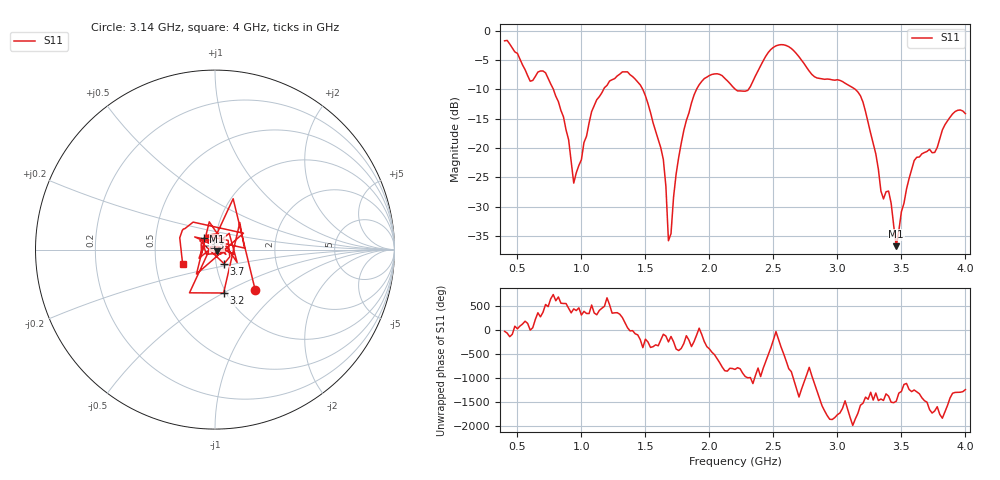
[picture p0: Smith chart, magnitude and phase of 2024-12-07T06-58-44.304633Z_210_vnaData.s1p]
!Created with skrf (http://scikit-rf.org).
# Hz S RI R 50.0
!freq ReS11 ImS11
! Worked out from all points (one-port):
!   181 points, 400 MHz to 4 GHz, reference 50 ohm
!   lowest |S11| = -36.8 dB at 3.46 GHz (marker M1), VSWR 1.03, Z = 51.2 - j0.895 ohm
!   |S11| at or under -10 dB: 781.4 MHz to 1.173 GHz (391.6 MHz wide, 40.1 % of centre); 1.48 GHz to 1.899 GHz (418.8 MHz wide, 24.8 % of centre); 3.141 GHz to end of sweep (the widest 3 of 4)
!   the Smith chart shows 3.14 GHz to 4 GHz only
!   S11 on the Smith chart (normalised r, x): 3.14 GHz: 1.38, -0.69; 3.2 GHz: 0.97, -0.50; 3.3 GHz: 0.88, +0.11; 3.7 GHz: 1.09, -0.17; 4 GHz: 0.69, -0.11
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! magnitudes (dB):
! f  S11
! 400 MHz  -1.7
! 600 MHz  -8.6
! 720 MHz  -7.2
! 860 MHz  -14.7
! 940 MHz  -26.0
! 1.08 GHz  -13.8
! 1.3 GHz  -7.4
! 1.52 GHz  -12.4
! 1.64 GHz  -22.0
! 1.66 GHz  -26.5
! 1.68 GHz  -35.8
! 1.7 GHz  -34.6
! 1.76 GHz  -21.6
! 1.94 GHz  -8.6
! 2.2 GHz  -9.9
! 2.3 GHz  -10.2
! 2.5 GHz  -2.8
! 2.66 GHz  -3.4
! 3.1 GHz  -9.4
! 3.14 GHz  -10.0
! 3.2 GHz  -12.2
! 3.3 GHz  -21.0
! 3.36 GHz  -28.7
! 3.4 GHz  -27.3
! 3.46 GHz  -36.8
! 3.56 GHz  -25.2
! 3.7 GHz  -20.6
! 4 GHz  -14.1
